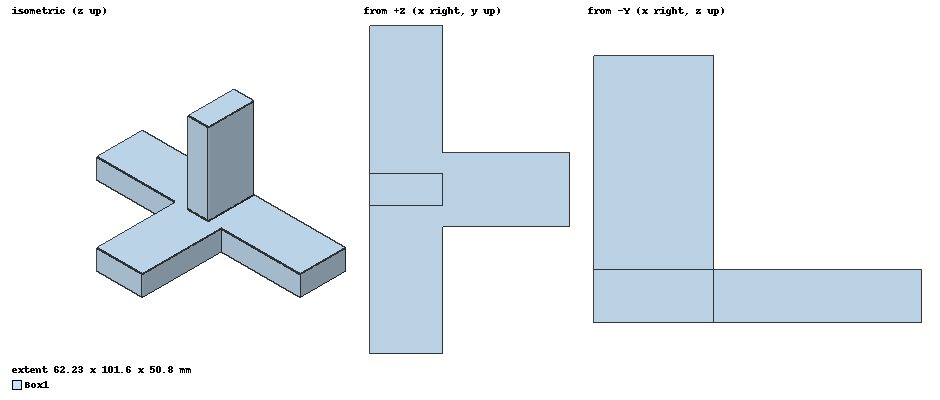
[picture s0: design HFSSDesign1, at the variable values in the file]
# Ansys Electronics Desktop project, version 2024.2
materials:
  vacuum: permittivity=1

design HFSSDesign1 (HFSS, HFSS Terminal Network, model units mm)
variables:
  a = 2in
  b = 0.9in
  h = 0.4in
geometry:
  Box1 [vacuum] = box(corner=(0, -b/2, 0mm), size=(a, b, h))
  Box2 = box(corner=(0, -b/2, 0mm), size=(a, b, h))
  Box2.rotate(axis=Z, angle=-90deg)
  Box3 = box(corner=(0, -b/2, 0mm), size=(a, b, h))
  Box3.rotate(axis=Z, angle=90deg)
  Box4 = box(corner=(0, -b/2, -h/2), size=(a, b, h))
  Box4.rotate(axis=Z, angle=90deg)
  Box4.rotate(axis=X, angle=90deg)
  Box1.unite(Box2, Box3, Box4)
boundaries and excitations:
  P1: Lumped Port Faces=Box1.face(at (0, -50.8, 5.08)) LumpedPortType=Modal Modes{Mode1{IntLine{(0, -50.8, 0) -> (0mm, -50800mm, 10000mm)} CharImp=Zpi}} Impedance=50ohm
  P2: Lumped Port Faces=Box1.face(at (0, 50.8, 5.08)) LumpedPortType=Modal Modes{Mode1{IntLine{(0, 50.8, 0) -> (0, 50.8, 10.16)} CharImp=Zpi}} Impedance=50ohm
  P3: Lumped Port Faces=Box1.face(+x) LumpedPortType=Modal Modes{Mode1{IntLine{(50.8, 0, 0) -> (50.8, 0, 10.16)} CharImp=Zpi}} Impedance=50ohm
  P4: Lumped Port Faces=Box1.face(at (0, 0, 50.8)) LumpedPortType=Modal Modes{Mode1{IntLine{(0, -5.08, 50.8) -> (0, 5.08, 50.8)} CharImp=Zpi}} Impedance=50ohm
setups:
  Setup1: HfssDriven Frequency=9GHz MaxDeltaS=0.02 MaximumPasses=6 MinimumPasses=1 MinimumConvergedPasses=1 PercentRefinement=30 BasisOrder=1 PortAccuracy=2 DrivenSolverType="Direct Solver"
    sweep Sweep: 2.5GHz to 13.5GHz step 0.1GHz; Type=Interpolating InterpTolerance=0.5 InterpMaxSolns=250 PassivityErrorTolerance=0.0001
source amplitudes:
  P1:1, P2:1, P3:1: 0W 0deg
  P4:1: 1W 0deg
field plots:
  Mag_E1, Mag_E2: E Field in Box1 on Setup1 : LastAdaptive at Freq=9GHz Phase=0deg
